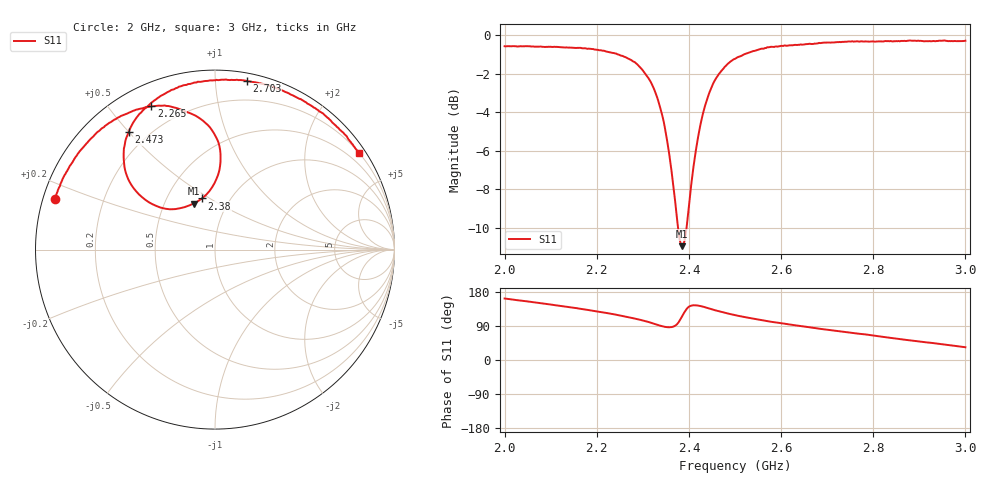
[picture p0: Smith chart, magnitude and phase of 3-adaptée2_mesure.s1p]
! ZVRE, 3.52
! symbol freq-unit parameter-type data-format keyword impedance-ohm
#  HZ  S  RI  R  50
! freq  reS11  imS11
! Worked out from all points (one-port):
!   401 points, 2 GHz to 3 GHz, reference 50 ohm
!   lowest |S11| = -11.0 dB at 2.385 GHz (marker M1), VSWR 1.79, Z = 34.9 + j19.4 ohm
!   |S11| at or under -10 dB: 2.376 GHz to 2.395 GHz (18.54 MHz wide, 0.777 % of centre)
!   S11 on the Smith chart (normalised r, x): 2 GHz: 0.03, +0.16; 2.265 GHz: 0.10, +0.65; 2.38 GHz: 0.74, +0.46; 2.473 GHz: 0.13, +0.50; 2.703 GHz: 0.05, +1.20; 3 GHz: 0.20, +3.29
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2e9  -0.8912 0.2846
2.05e9  -0.8438 0.403
2.125e9  -0.7348 0.5692
2.1875e9  -0.6024 0.6963
2.25e9  -0.4118 0.7857
2.265e9  -0.3539 0.7979
2.295e9  -0.2243 0.7912
2.325e9  -0.0665 0.7176
2.34e9  0.00263 0.6325
2.3525e9  0.0307 0.5326
2.365e9  0.0174 0.4168
2.375e9  -0.0317 0.325
2.38e9  -0.0724 0.2852
2.385e9  -0.1194 0.2565
2.3925e9  -0.1951 0.2304
2.4025e9  -0.3038 0.2341
2.415e9  -0.4068 0.2927
2.4275e9  -0.474 0.3739
2.4475e9  -0.5089 0.515
2.4725e9  -0.4817 0.6541
2.5e9  -0.4118 0.7634
2.535e9  -0.3118 0.849
2.57e9  -0.2015 0.9076
2.625e9  -0.0431 0.9396
2.7025e9  0.1762 0.9405
2.75e9  0.2965 0.9149
2.875e9  0.5905 0.7655
3e9  0.804 0.5366
